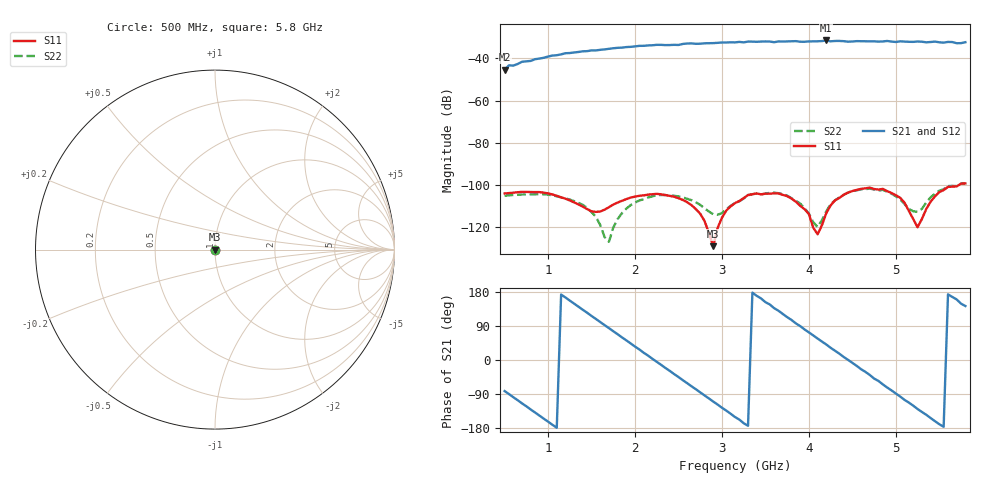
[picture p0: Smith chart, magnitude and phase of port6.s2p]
# GHZ S RI R 50
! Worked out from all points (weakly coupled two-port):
!   107 points, 500 MHz to 5.8 GHz, reference 50 ohm
!   highest |S21| = -31.54 dB at 4.2 GHz (marker M1); lowest = -45.4 dB at 500 MHz (marker M2)
!   lowest |S11| = -129.0 dB at 2.9 GHz (marker M3), VSWR 1.00, Z = 50 - j9.72e-06 ohm
!   |S11| at or under -10 dB: start of sweep to end of sweep
!   |S22| runs from -126.9 to -99.3 dB; largest |S21 - S12| = 0.0005
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0.5  5.3e-06 -3.4e-06  0.000742 -0.00529  0.000744 -0.00529  5.43e-06 -1.17e-06
0.55  4.79e-06 -4.31e-06  1.19e-05 -0.00683  2.13e-05 -0.00683  5.44e-06 -1.69e-06
0.6  4.07e-06 -5.14e-06  -0.000959 -0.00665  -0.000967 -0.00665  5.31e-06 -2.33e-06
0.7  2.39e-06 -6.45e-06  -0.00343 -0.00754  -0.00343 -0.00754  4.8e-06 -3.51e-06
0.8  2.25e-07 -6.81e-06  -0.00565 -0.00659  -0.00566 -0.00659  3.87e-06 -4.56e-06
0.85  -8.18e-07 -6.75e-06  -0.00713 -0.00631  -0.00712 -0.00632  3.33e-06 -5.03e-06
1.2  -3.99e-06 -2.54e-06  -0.0128 0.00343  -0.0127 0.00342  -1.12e-06 -4.7e-06
1.4  -2.86e-06 -1.1e-06  -0.0099 0.0108  -0.00991 0.0108  -2.31e-06 -2.46e-06
2.05  -5.01e-06 -2.38e-06  0.0174 0.00922  0.0174 0.00919  1.4e-06 -4.06e-06
2.3  -5.94e-06 9.08e-07  0.0203 -0.00458  0.0203 -0.00449  -2.12e-06 -5.39e-06
2.9  -3.42e-07 -9.72e-08  -0.00772 -0.0216  -0.00768 -0.0216  -1.92e-06 -6.75e-07
3.15  -3.06e-06 -2.12e-06  -0.0207 -0.0117  -0.0207 -0.0119  -2.24e-06 -3e-06
4.05  -2.57e-07 9.39e-07  0.0107 0.0228  0.0108 0.0228  -9.98e-07 8.56e-07
4.2  -2.13e-06 -3.75e-07  0.02 0.0173  0.0199 0.0173  -2.09e-06 -1.15e-06
4.45  -6.31e-06 2e-06  0.0248 0.000171  0.0247 0.000431  -6.59e-06 -7.74e-07
4.95  1.6e-06 6.28e-06  0.00424 -0.0246  0.00426 -0.0246  -2.65e-06 5.62e-06
5.35  -2.53e-06 -9.4e-07  -0.0195 -0.0138  -0.0194 -0.0138  -3.79e-06 6.86e-07
5.45  -5.38e-06 -1.44e-07  -0.0236 -0.00794  -0.0236 -0.00786  -6.09e-06 1.4e-06
5.55  -7.18e-06 2.43e-06  -0.0235 -0.00156  -0.0234 -0.00123  -7.34e-06 3.1e-06
5.65  -7.36e-06 5.45e-06  -0.0236 0.00572  -0.0237 0.0061  -7.83e-06 5.41e-06
5.7  -6.22e-06 6.86e-06  -0.0214 0.0079  -0.0211 0.00785  -6.78e-06 6.54e-06
5.8  -4.61e-06 9.86e-06  -0.0191 0.0147  -0.0188 0.0149  -5.38e-06 9.33e-06
